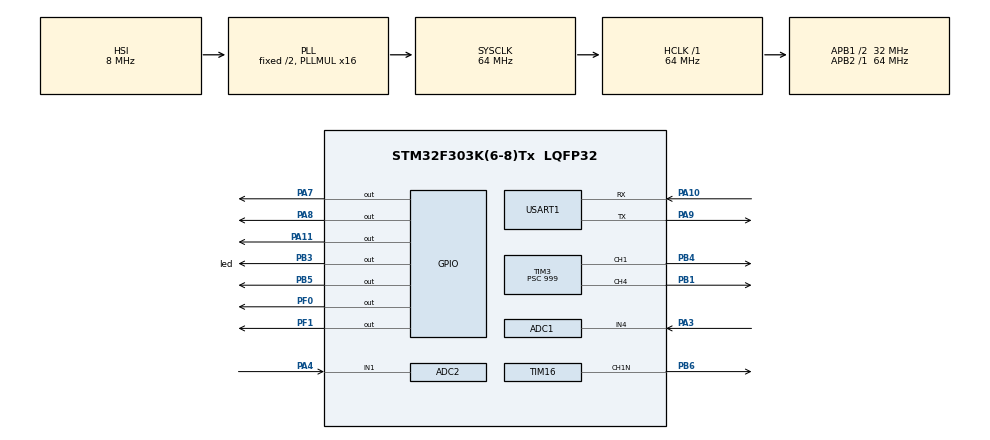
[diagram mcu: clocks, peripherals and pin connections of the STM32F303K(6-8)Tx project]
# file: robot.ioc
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ADC1.Channel-8\#ChannelRegularConversion=ADC_CHANNEL_4
ADC1.NbrOfConversionFlag=1
ADC1.SubFamily=STM32F303x8
ADC1.master=1
ADC2.Channel-0\#ChannelRegularConversion=ADC_CHANNEL_1
ADC2.NbrOfConversionFlag=1
ADC2.Offset-0\#ChannelRegularConversion=0
ADC2.OffsetNumber-0\#ChannelRegularConversion=ADC_OFFSET_NONE
ADC2.Rank-0\#ChannelRegularConversion=1
ADC2.SamplingTime-0\#ChannelRegularConversion=ADC_SAMPLETIME_1CYCLE_5
ADC2.SubFamily=STM32F303x8
FREERTOS.Tasks01=defaultTask,0,128,StartDefaultTask,Default,NULL,Dynamic,NULL,NULL;moteur,-3,128,moteurCtrl,As weak,NULL,Dynamic,NULL,NULL;pc_communicat,-3,256,pcCommunication,As weak,NULL,Dynamic,NULL,NULL
Mcu.Family=STM32F3
Mcu.Name=STM32F303K(6-8)Tx
Mcu.Package=LQFP32
NVIC.PriorityGroup=NVIC_PRIORITYGROUP_4
NVIC.TIM1_BRK_TIM15_IRQn=true\:0\:0\:false\:false\:true\:false
NVIC.TimeBase=TIM1_BRK_TIM15_IRQn
NVIC.TimeBaseIP=TIM15
PA10.Mode=Asynchronous
PA10.Signal=USART1_RX
PA11.GPIO_ModeDefaultOutputPP=GPIO_MODE_OUTPUT_PP
PA11.GPIO_PuPd=GPIO_NOPULL
PA11.GPIO_Speed=GPIO_SPEED_FREQ_LOW
PA11.PinState=GPIO_PIN_RESET
PA11.Signal=GPIO_Output
PA13.Signal=SYS_JTMS-SWDIO
PA14.Signal=SYS_JTCK-SWCLK
PA15.GPIO_FM8=__NULL
PA15.GPIO_Mode=GPIO_MODE_AF_PP
PA15.GPIO_PuPd=GPIO_NOPULL
PA15.GPIO_Speed=GPIO_SPEED_FREQ_HIGH
PA15.Signal=USART2_RX
PA2.GPIO_FM8=__NULL
PA2.GPIO_Mode=GPIO_MODE_AF_PP
PA2.GPIO_PuPd=GPIO_NOPULL
PA2.GPIO_Speed=GPIO_SPEED_FREQ_HIGH
PA2.Signal=USART2_TX
PA3.GPIO_Mode=GPIO_MODE_ANALOG
PA3.GPIO_PuPd=GPIO_NOPULL
PA3.Mode=IN4-Single-Ended
PA3.Signal=ADC1_IN4
PA4.GPIO_Mode=GPIO_MODE_ANALOG
PA4.GPIO_PuPd=GPIO_NOPULL
PA4.Mode=IN1-Single-Ended
PA4.Signal=ADC2_IN1
PA7.GPIO_ModeDefaultOutputPP=GPIO_MODE_OUTPUT_PP
PA7.GPIO_PuPd=GPIO_NOPULL
PA7.GPIO_Speed=GPIO_SPEED_FREQ_LOW
PA7.PinState=GPIO_PIN_RESET
PA7.Signal=GPIO_Output
PA8.GPIO_ModeDefaultOutputPP=GPIO_MODE_OUTPUT_PP
PA8.GPIO_PuPd=GPIO_NOPULL
PA8.GPIO_Speed=GPIO_SPEED_FREQ_LOW
PA8.PinState=GPIO_PIN_RESET
PA8.Signal=GPIO_Output
PA9.Mode=Asynchronous
PA9.Signal=USART1_TX
PB1.GPIO_ModeDefaultPP=GPIO_MODE_AF_PP
PB1.GPIO_PuPd=GPIO_NOPULL
PB1.GPIO_Speed=GPIO_SPEED_FREQ_LOW
PB1.Signal=S_TIM3_CH4
PB3.GPIO_Label=led
PB3.Signal=GPIO_Output
PB4.GPIO_ModeDefaultPP=GPIO_MODE_AF_PP
PB4.GPIO_PuPd=GPIO_NOPULL
PB4.GPIO_Speed=GPIO_SPEED_FREQ_LOW
PB4.Signal=S_TIM3_CH1
PB5.GPIO_ModeDefaultOutputPP=GPIO_MODE_OUTPUT_PP
PB5.GPIO_PuPd=GPIO_NOPULL
PB5.GPIO_Speed=GPIO_SPEED_FREQ_LOW
PB5.PinState=GPIO_PIN_RESET
PB5.Signal=GPIO_Output
PB6.GPIO_FM6=__NULL
PB6.GPIO_ModeDefaultPP=GPIO_MODE_AF_PP
PB6.GPIO_PuPd=GPIO_NOPULL
PB6.GPIO_Speed=GPIO_SPEED_FREQ_LOW
PB6.Mode=PWM Generation1 CH1N
PB6.Signal=TIM16_CH1N
PF0\ /\ OSC_IN.GPIO_ModeDefaultOutputPP=GPIO_MODE_OUTPUT_PP
PF0\ /\ OSC_IN.GPIO_PuPd=GPIO_NOPULL
PF0\ /\ OSC_IN.GPIO_Speed=GPIO_SPEED_FREQ_LOW
PF0\ /\ OSC_IN.PinState=GPIO_PIN_RESET
PF0\ /\ OSC_IN.Signal=GPIO_Output
PF1\ /\ OSC_OUT.GPIO_ModeDefaultOutputPP=GPIO_MODE_OUTPUT_PP
PF1\ /\ OSC_OUT.GPIO_PuPd=GPIO_NOPULL
PF1\ /\ OSC_OUT.GPIO_Speed=GPIO_SPEED_FREQ_LOW
PF1\ /\ OSC_OUT.PinState=GPIO_PIN_RESET
PF1\ /\ OSC_OUT.Signal=GPIO_Output
ProjectManager.HeapSize=0x200
ProjectManager.StackSize=0x400
ProjectManager.TargetToolchain=Makefile
RCC.AHBFreq_Value=64000000
RCC.APB1CLKDivider=RCC_HCLK_DIV2
RCC.APB1Freq_Value=32000000
RCC.APB1TimFreq_Value=64000000
RCC.APB2Freq_Value=64000000
RCC.APB2TimFreq_Value=64000000
RCC.CortexFreq_Value=64000000
RCC.HCLKFreq_Value=64000000
RCC.HSE_VALUE=8000000
RCC.HSI_VALUE=8000000
RCC.PLLMUL=RCC_PLL_MUL16
RCC.SYSCLKFreq_VALUE=64000000
RCC.SYSCLKSourceVirtual=RCC_SYSCLKSOURCE_PLLCLK
SH.S_TIM3_CH1.0=TIM3_CH1,PWM Generation1 CH1
SH.S_TIM3_CH4.0=TIM3_CH4,PWM Generation4 CH4
TIM16.Channel=TIM_CHANNEL_1
TIM3.Channel-PWM\ Generation1\ CH1=TIM_CHANNEL_1
TIM3.Channel-PWM\ Generation4\ CH4=TIM_CHANNEL_4
TIM3.Period=639
TIM3.Prescaler=999
TIM3.Pulse-PWM\ Generation1\ CH1=0
TIM3.Pulse-PWM\ Generation4\ CH4=0
USART1.VirtualMode-Asynchronous=VM_ASYNC
VP_FREERTOS_VS_ENABLE.Mode=Enabled
VP_SYS_VS_tim15.Mode=TIM15
VP_TIM16_VS_ClockSourceINT.Mode=Enable_Timer
board=NUCLEO-F303K8

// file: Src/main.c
/**
  ******************************************************************************
  * File Name          : main.c
  * Description        : Main program body
  ******************************************************************************
  * This notice applies to any and all portions of this file
  * that are not between comment pairs USER CODE BEGIN and
  * USER CODE END. Other portions of this file, whether
  * inserted by the user or by software development tools
  * are owned by their respective copyright owners.
  *
  * Copyright (c) 2017 STMicroelectronics International N.V.
  * All rights reserved.
  *
  * Redistribution and use in source and binary forms, with or without
  * modification, are permitted, provided that the following conditions are met:
  *
  * 1. Redistribution of source code must retain the above copyright notice,
  *    this list of conditions and the following disclaimer.
  * 2. Redistributions in binary form must reproduce the above copyright notice,
  *    this list of conditions and the following disclaimer in the documentation
  *    and/or other materials provided with the distribution.
  * 3. Neither the name of STMicroelectronics nor the names of other
  *    contributors to this software may be used to endorse or promote products
  *    derived from this software without specific written permission.
  * 4. This software, including modifications and/or derivative works of this
  *    software, must execute solely and exclusively on microcontroller or
  *    microprocessor devices manufactured by or for STMicroelectronics.
  * 5. Redistribution and use of this software other than as permitted under
  *    this license is void and will automatically terminate your rights under
  *    this license.
  *
  * THIS SOFTWARE IS PROVIDED BY STMICROELECTRONICS AND CONTRIBUTORS "AS IS"
  * AND ANY EXPRESS, IMPLIED OR STATUTORY WARRANTIES, INCLUDING, BUT NOT
  * LIMITED TO, THE IMPLIED WARRANTIES OF MERCHANTABILITY, FITNESS FOR A
  * PARTICULAR PURPOSE AND NON-INFRINGEMENT OF THIRD PARTY INTELLECTUAL PROPERTY
  * RIGHTS ARE DISCLAIMED TO THE FULLEST EXTENT PERMITTED BY LAW. IN NO EVENT
  * SHALL STMICROELECTRONICS OR CONTRIBUTORS BE LIABLE FOR ANY DIRECT, INDIRECT,
  * INCIDENTAL, SPECIAL, EXEMPLARY, OR CONSEQUENTIAL DAMAGES (INCLUDING, BUT NOT
  * LIMITED TO, PROCUREMENT OF SUBSTITUTE GOODS OR SERVICES; LOSS OF USE, DATA,
  * OR PROFITS; OR BUSINESS INTERRUPTION) HOWEVER CAUSED AND ON ANY THEORY OF
  * LIABILITY, WHETHER IN CONTRACT, STRICT LIABILITY, OR TORT (INCLUDING
  * NEGLIGENCE OR OTHERWISE) ARISING IN ANY WAY OUT OF THE USE OF THIS SOFTWARE,
  * EVEN IF ADVISED OF THE POSSIBILITY OF SUCH DAMAGE.
  *
  ******************************************************************************
  */
#include "main.h"
#include "stm32f3xx_hal.h"
#include "cmsis_os.h"

ADC_HandleTypeDef hadc1;
ADC_HandleTypeDef hadc2;

TIM_HandleTypeDef htim3;
TIM_HandleTypeDef htim16;

UART_HandleTypeDef huart1;

osThreadId defaultTaskHandle;
osThreadId moteurHandle;
osThreadId pc_communicatHandle;

/* USER CODE BEGIN PV */
/* Private variables ---------------------------------------------------------*/

/* USER CODE END PV */

void SystemClock_Config(void);
static void MX_GPIO_Init(void);
static void MX_TIM3_Init(void);
static void MX_TIM16_Init(void);
static void MX_USART1_UART_Init(void);
static void MX_ADC2_Init(void);
static void MX_ADC1_Init(void);
void StartDefaultTask(void const * argument);
void moteurCtrl(void const * argument);
void pcCommunication(void const * argument);

void HAL_TIM_MspPostInit(TIM_HandleTypeDef *htim);

/* USER CODE BEGIN PFP */
/* Private function prototypes -----------------------------------------------*/

/* USER CODE END PFP */

int main(void)
{

  /* MCU Configuration----------------------------------------------------------*/

  /* Reset of all peripherals, Initializes the Flash interface and the Systick. */
  HAL_Init();

  /* Configure the system clock */
  SystemClock_Config();

  /* Initialize all configured peripherals */
  MX_GPIO_Init();
  MX_TIM3_Init();
  MX_TIM16_Init();
  MX_USART1_UART_Init();
  MX_ADC2_Init();
  MX_ADC1_Init();

  /* Create the thread(s) */
  /* definition and creation of defaultTask */
  osThreadDef(defaultTask, StartDefaultTask, osPriorityNormal, 0, 128);
  defaultTaskHandle = osThreadCreate(osThread(defaultTask), NULL);

  /* definition and creation of moteur */
  osThreadDef(moteur, moteurCtrl, osPriorityIdle, 0, 128);
  moteurHandle = osThreadCreate(osThread(moteur), NULL);

  /* definition and creation of pc_communicat */
  osThreadDef(pc_communicat, pcCommunication, osPriorityIdle, 0, 256);
  pc_communicatHandle = osThreadCreate(osThread(pc_communicat), NULL);

  /* Start scheduler */
  osKernelStart();

  /* We should never get here as control is now taken by the scheduler */

  /* Infinite loop */
  while (1)
  {

  }

}

/** System Clock Configuration
*/
void SystemClock_Config(void)
{

  RCC_OscInitTypeDef RCC_OscInitStruct;
  RCC_ClkInitTypeDef RCC_ClkInitStruct;
  RCC_PeriphCLKInitTypeDef PeriphClkInit;

    /**Initializes the CPU, AHB and APB busses clocks
    */
  RCC_OscInitStruct.OscillatorType = RCC_OSCILLATORTYPE_HSI;
  RCC_OscInitStruct.HSIState = RCC_HSI_ON;
  RCC_OscInitStruct.HSICalibrationValue = 16;
  RCC_OscInitStruct.PLL.PLLState = RCC_PLL_ON;
  RCC_OscInitStruct.PLL.PLLSource = RCC_PLLSOURCE_HSI;
  RCC_OscInitStruct.PLL.PLLMUL = RCC_PLL_MUL16;
  if (HAL_RCC_OscConfig(&RCC_OscInitStruct) != HAL_OK)
  {
    _Error_Handler(__FILE__, __LINE__);
  }

    /**Initializes the CPU, AHB and APB busses clocks
    */
  RCC_ClkInitStruct.ClockType = RCC_CLOCKTYPE_HCLK|RCC_CLOCKTYPE_SYSCLK
                              |RCC_CLOCKTYPE_PCLK1|RCC_CLOCKTYPE_PCLK2;
  RCC_ClkInitStruct.SYSCLKSource = RCC_SYSCLKSOURCE_PLLCLK;
  RCC_ClkInitStruct.AHBCLKDivider = RCC_SYSCLK_DIV1;
  RCC_ClkInitStruct.APB1CLKDivider = RCC_HCLK_DIV2;
  RCC_ClkInitStruct.APB2CLKDivider = RCC_HCLK_DIV1;

  if (HAL_RCC_ClockConfig(&RCC_ClkInitStruct, FLASH_LATENCY_2) != HAL_OK)
  {
    _Error_Handler(__FILE__, __LINE__);
  }

  PeriphClkInit.PeriphClockSelection = RCC_PERIPHCLK_USART1|RCC_PERIPHCLK_ADC12;
  PeriphClkInit.Usart1ClockSelection = RCC_USART1CLKSOURCE_PCLK1;
  PeriphClkInit.Adc12ClockSelection = RCC_ADC12PLLCLK_DIV1;
  if (HAL_RCCEx_PeriphCLKConfig(&PeriphClkInit) != HAL_OK)
  {
    _Error_Handler(__FILE__, __LINE__);
  }

    /**Configure the Systick interrupt time
    */
  HAL_SYSTICK_Config(HAL_RCC_GetHCLKFreq()/1000);

    /**Configure the Systick
    */
  HAL_SYSTICK_CLKSourceConfig(SYSTICK_CLKSOURCE_HCLK);

  /* SysTick_IRQn interrupt configuration */
  HAL_NVIC_SetPriority(SysTick_IRQn, 15, 0);
}

/* ADC1 init function */
static void MX_ADC1_Init(void)
{

  ADC_MultiModeTypeDef multimode;
  ADC_ChannelConfTypeDef sConfig;

    /**Common config
    */
  hadc1.Instance = ADC1;
  hadc1.Init.ClockPrescaler = ADC_CLOCK_ASYNC_DIV1;
  hadc1.Init.Resolution = ADC_RESOLUTION_12B;
  hadc1.Init.ScanConvMode = ADC_SCAN_DISABLE;
  hadc1.Init.ContinuousConvMode = DISABLE;
  hadc1.Init.DiscontinuousConvMode = DISABLE;
  hadc1.Init.ExternalTrigConvEdge = ADC_EXTERNALTRIGCONVEDGE_NONE;
  hadc1.Init.ExternalTrigConv = ADC_SOFTWARE_START;
  hadc1.Init.DataAlign = ADC_DATAALIGN_RIGHT;
  hadc1.Init.NbrOfConversion = 1;
  hadc1.Init.DMAContinuousRequests = DISABLE;
  hadc1.Init.EOCSelection = ADC_EOC_SINGLE_CONV;
  hadc1.Init.LowPowerAutoWait = DISABLE;
  hadc1.Init.Overrun = ADC_OVR_DATA_OVERWRITTEN;
  if (HAL_ADC_Init(&hadc1) != HAL_OK)
  {
    _Error_Handler(__FILE__, __LINE__);
  }

    /**Configure the ADC multi-mode
    */
  multimode.Mode = ADC_MODE_INDEPENDENT;
  if (HAL_ADCEx_MultiModeConfigChannel(&hadc1, &multimode) != HAL_OK)
  {
    _Error_Handler(__FILE__, __LINE__);
  }

    /**Configure Regular Channel
    */
  sConfig.Channel = ADC_CHANNEL_4;
  sConfig.Rank = 1;
  sConfig.SingleDiff = ADC_SINGLE_ENDED;
  sConfig.SamplingTime = ADC_SAMPLETIME_1CYCLE_5;
  sConfig.OffsetNumber = ADC_OFFSET_NONE;
  sConfig.Offset = 0;
  if (HAL_ADC_ConfigChannel(&hadc1, &sConfig) != HAL_OK)
  {
    _Error_Handler(__FILE__, __LINE__);
  }

}

/* ADC2 init function */
static void MX_ADC2_Init(void)
{

  ADC_ChannelConfTypeDef sConfig;

    /**Common config
    */
  hadc2.Instance = ADC2;
  hadc2.Init.ClockPrescaler = ADC_CLOCK_ASYNC_DIV1;
  hadc2.Init.Resolution = ADC_RESOLUTION_12B;
  hadc2.Init.ScanConvMode = ADC_SCAN_DISABLE;
  hadc2.Init.ContinuousConvMode = DISABLE;
  hadc2.Init.DiscontinuousConvMode = DISABLE;
  hadc2.Init.ExternalTrigConvEdge = ADC_EXTERNALTRIGCONVEDGE_NONE;
  hadc2.Init.ExternalTrigConv = ADC_SOFTWARE_START;
  hadc2.Init.DataAlign = ADC_DATAALIGN_RIGHT;
  hadc2.Init.NbrOfConversion = 1;
  hadc2.Init.DMAContinuousRequests = DISABLE;
  hadc2.Init.EOCSelection = ADC_EOC_SINGLE_CONV;
  hadc2.Init.LowPowerAutoWait = DISABLE;
  hadc2.Init.Overrun = ADC_OVR_DATA_OVERWRITTEN;
  if (HAL_ADC_Init(&hadc2) != HAL_OK)
  {
    _Error_Handler(__FILE__, __LINE__);
  }

    /**Configure Regular Channel
    */
  sConfig.Channel = ADC_CHANNEL_1;
  sConfig.Rank = 1;
  sConfig.SingleDiff = ADC_SINGLE_ENDED;
  sConfig.SamplingTime = ADC_SAMPLETIME_1CYCLE_5;
  sConfig.OffsetNumber = ADC_OFFSET_NONE;
  sConfig.Offset = 0;
  if (HAL_ADC_ConfigChannel(&hadc2, &sConfig) != HAL_OK)
  {
    _Error_Handler(__FILE__, __LINE__);
  }

}

/* TIM3 init function */
static void MX_TIM3_Init(void)
{

  TIM_MasterConfigTypeDef sMasterConfig;
  TIM_OC_InitTypeDef sConfigOC;

  htim3.Instance = TIM3;
  htim3.Init.Prescaler = 999;
  htim3.Init.CounterMode = TIM_COUNTERMODE_UP;
  htim3.Init.Period = 639;
  htim3.Init.ClockDivision = TIM_CLOCKDIVISION_DIV1;
  htim3.Init.AutoReloadPreload = TIM_AUTORELOAD_PRELOAD_DISABLE;
  if (HAL_TIM_PWM_Init(&htim3) != HAL_OK)
  {
    _Error_Handler(__FILE__, __LINE__);
  }

  sMasterConfig.MasterOutputTrigger = TIM_TRGO_RESET;
  sMasterConfig.MasterSlaveMode = TIM_MASTERSLAVEMODE_DISABLE;
  if (HAL_TIMEx_MasterConfigSynchronization(&htim3, &sMasterConfig) != HAL_OK)
  {
    _Error_Handler(__FILE__, __LINE__);
  }

  sConfigOC.OCMode = TIM_OCMODE_PWM1;
  sConfigOC.Pulse = 0;
  sConfigOC.OCPolarity = TIM_OCPOLARITY_HIGH;
  sConfigOC.OCFastMode = TIM_OCFAST_DISABLE;
  if (HAL_TIM_PWM_ConfigChannel(&htim3, &sConfigOC, TIM_CHANNEL_1) != HAL_OK)
  {
    _Error_Handler(__FILE__, __LINE__);
  }

  if (HAL_TIM_PWM_ConfigChannel(&htim3, &sConfigOC, TIM_CHANNEL_4) != HAL_OK)
  {
    _Error_Handler(__FILE__, __LINE__);
  }

  HAL_TIM_MspPostInit(&htim3);

}

/* TIM16 init function */
static void MX_TIM16_Init(void)
{

  TIM_OC_InitTypeDef sConfigOC;
  TIM_BreakDeadTimeConfigTypeDef sBreakDeadTimeConfig;

  htim16.Instance = TIM16;
  htim16.Init.Prescaler = 0;
  htim16.Init.CounterMode = TIM_COUNTERMODE_UP;
  htim16.Init.Period = 0;
  htim16.Init.ClockDivision = TIM_CLOCKDIVISION_DIV1;
  htim16.Init.RepetitionCounter = 0;
  htim16.Init.AutoReloadPreload = TIM_AUTORELOAD_PRELOAD_DISABLE;
  if (HAL_TIM_Base_Init(&htim16) != HAL_OK)
  {
    _Error_Handler(__FILE__, __LINE__);
  }

  if (HAL_TIM_PWM_Init(&htim16) != HAL_OK)
  {
    _Error_Handler(__FILE__, __LINE__);
  }

  sConfigOC.OCMode = TIM_OCMODE_PWM1;
  sConfigOC.Pulse = 0;
  sConfigOC.OCPolarity = TIM_OCPOLARITY_HIGH;
  sConfigOC.OCNPolarity = TIM_OCNPOLARITY_HIGH;
  sConfigOC.OCFastMode = TIM_OCFAST_DISABLE;
  sConfigOC.OCIdleState = TIM_OCIDLESTATE_RESET;
  sConfigOC.OCNIdleState = TIM_OCNIDLESTATE_RESET;
  if (HAL_TIM_PWM_ConfigChannel(&htim16, &sConfigOC, TIM_CHANNEL_1) != HAL_OK)
  {
    _Error_Handler(__FILE__, __LINE__);
  }

  sBreakDeadTimeConfig.OffStateRunMode = TIM_OSSR_DISABLE;
  sBreakDeadTimeConfig.OffStateIDLEMode = TIM_OSSI_DISABLE;
  sBreakDeadTimeConfig.LockLevel = TIM_LOCKLEVEL_OFF;
  sBreakDeadTimeConfig.DeadTime = 0;
  sBreakDeadTimeConfig.BreakState = TIM_BREAK_DISABLE;
  sBreakDeadTimeConfig.BreakPolarity = TIM_BREAKPOLARITY_HIGH;
  sBreakDeadTimeConfig.BreakFilter = 0;
  sBreakDeadTimeConfig.AutomaticOutput = TIM_AUTOMATICOUTPUT_DISABLE;
  if (HAL_TIMEx_ConfigBreakDeadTime(&htim16, &sBreakDeadTimeConfig) != HAL_OK)
  {
    _Error_Handler(__FILE__, __LINE__);
  }

  HAL_TIM_MspPostInit(&htim16);

}

/* USART1 init function */
static void MX_USART1_UART_Init(void)
{

  huart1.Instance = USART1;
  huart1.Init.BaudRate = 38400;
  huart1.Init.WordLength = UART_WORDLENGTH_7B;
  huart1.Init.StopBits = UART_STOPBITS_1;
  huart1.Init.Parity = UART_PARITY_NONE;
  huart1.Init.Mode = UART_MODE_TX_RX;
  huart1.Init.HwFlowCtl = UART_HWCONTROL_NONE;
  huart1.Init.OverSampling = UART_OVERSAMPLING_16;
  huart1.Init.OneBitSampling = UART_ONE_BIT_SAMPLE_DISABLE;
  huart1.AdvancedInit.AdvFeatureInit = UART_ADVFEATURE_NO_INIT;
  if (HAL_UART_Init(&huart1) != HAL_OK)
  {
    _Error_Handler(__FILE__, __LINE__);
  }

}

/** Configure pins as
        * Analog
        * Input
        * Output
        * EVENT_OUT
        * EXTI
     PA2   ------> USART2_TX
     PA15   ------> USART2_RX
*/
static void MX_GPIO_Init(void)
{

  GPIO_InitTypeDef GPIO_InitStruct;

  /* GPIO Ports Clock Enable */
  __HAL_RCC_GPIOF_CLK_ENABLE();
  __HAL_RCC_GPIOA_CLK_ENABLE();
  __HAL_RCC_GPIOB_CLK_ENABLE();

  /*Configure GPIO pin Output Level */
  HAL_GPIO_WritePin(GPIOF, GPIO_PIN_0|GPIO_PIN_1, GPIO_PIN_RESET);

  /*Configure GPIO pin Output Level */
  HAL_GPIO_WritePin(GPIOA, GPIO_PIN_7|GPIO_PIN_8|GPIO_PIN_11, GPIO_PIN_RESET);

  /*Configure GPIO pin Output Level */
  HAL_GPIO_WritePin(GPIOB, led_Pin|GPIO_PIN_5, GPIO_PIN_RESET);

  /*Configure GPIO pins : PF0 PF1 */
  GPIO_InitStruct.Pin = GPIO_PIN_0|GPIO_PIN_1;
  GPIO_InitStruct.Mode = GPIO_MODE_OUTPUT_PP;
  GPIO_InitStruct.Pull = GPIO_NOPULL;
  GPIO_InitStruct.Speed = GPIO_SPEED_FREQ_LOW;
  HAL_GPIO_Init(GPIOF, &GPIO_InitStruct);

  /*Configure GPIO pins : PA2 PA15 */
  GPIO_InitStruct.Pin = GPIO_PIN_2|GPIO_PIN_15;
  GPIO_InitStruct.Mode = GPIO_MODE_AF_PP;
  GPIO_InitStruct.Pull = GPIO_NOPULL;
  GPIO_InitStruct.Speed = GPIO_SPEED_FREQ_HIGH;
  GPIO_InitStruct.Alternate = GPIO_AF7_USART2;
  HAL_GPIO_Init(GPIOA, &GPIO_InitStruct);

  /*Configure GPIO pins : PA7 PA8 PA11 */
  GPIO_InitStruct.Pin = GPIO_PIN_7|GPIO_PIN_8|GPIO_PIN_11;
  GPIO_InitStruct.Mode = GPIO_MODE_OUTPUT_PP;
  GPIO_InitStruct.Pull = GPIO_NOPULL;
  GPIO_InitStruct.Speed = GPIO_SPEED_FREQ_LOW;
  HAL_GPIO_Init(GPIOA, &GPIO_InitStruct);

  /*Configure GPIO pins : led_Pin PB5 */
  GPIO_InitStruct.Pin = led_Pin|GPIO_PIN_5;
  GPIO_InitStruct.Mode = GPIO_MODE_OUTPUT_PP;
  GPIO_InitStruct.Pull = GPIO_NOPULL;
  GPIO_InitStruct.Speed = GPIO_SPEED_FREQ_LOW;
  HAL_GPIO_Init(GPIOB, &GPIO_InitStruct);

}

/* StartDefaultTask function */
void StartDefaultTask(void const * argument)
{

  /* USER CODE BEGIN 5 */
  /* Infinite loop */
  for(;;)
  {
    HAL_GPIO_TogglePin(led_GPIO_Port, led_Pin);
    osDelay(1000);
  }
  /* USER CODE END 5 */
}

/* moteurCtrl function */
__weak void moteurCtrl(void const * argument)
{
  for(;;)
  {
    osDelay(1);
  }
}

/* pcCommunication function */
__weak void pcCommunication(void const * argument)
{
  for(;;)
  {
    osDelay(1);
  }
}

void HAL_TIM_PeriodElapsedCallback(TIM_HandleTypeDef *htim)
{
  if (htim->Instance == TIM15) {
    HAL_IncTick();
  }
}

void _Error_Handler(char * file, int line)
{
  while(1)
  {
  }
}

/************************ (C) COPYRIGHT STMicroelectronics *****END OF FILE****/

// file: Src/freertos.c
/**
  ******************************************************************************
  * File Name          : freertos.c
  * Description        : Code for freertos applications
  ******************************************************************************
  * This notice applies to any and all portions of this file
  * that are not between comment pairs USER CODE BEGIN and
  * USER CODE END. Other portions of this file, whether
  * inserted by the user or by software development tools
  * are owned by their respective copyright owners.
  *
  * Copyright (c) 2017 STMicroelectronics International N.V.
  * All rights reserved.
  *
  * Redistribution and use in source and binary forms, with or without
  * modification, are permitted, provided that the following conditions are met:
  *
  * 1. Redistribution of source code must retain the above copyright notice,
  *    this list of conditions and the following disclaimer.
  * 2. Redistributions in binary form must reproduce the above copyright notice,
  *    this list of conditions and the following disclaimer in the documentation
  *    and/or other materials provided with the distribution.
  * 3. Neither the name of STMicroelectronics nor the names of other
  *    contributors to this software may be used to endorse or promote products
  *    derived from this software without specific written permission.
  * 4. This software, including modifications and/or derivative works of this
  *    software, must execute solely and exclusively on microcontroller or
  *    microprocessor devices manufactured by or for STMicroelectronics.
  * 5. Redistribution and use of this software other than as permitted under
  *    this license is void and will automatically terminate your rights under
  *    this license.
  *
  * THIS SOFTWARE IS PROVIDED BY STMICROELECTRONICS AND CONTRIBUTORS "AS IS"
  * AND ANY EXPRESS, IMPLIED OR STATUTORY WARRANTIES, INCLUDING, BUT NOT
  * LIMITED TO, THE IMPLIED WARRANTIES OF MERCHANTABILITY, FITNESS FOR A
  * PARTICULAR PURPOSE AND NON-INFRINGEMENT OF THIRD PARTY INTELLECTUAL PROPERTY
  * RIGHTS ARE DISCLAIMED TO THE FULLEST EXTENT PERMITTED BY LAW. IN NO EVENT
  * SHALL STMICROELECTRONICS OR CONTRIBUTORS BE LIABLE FOR ANY DIRECT, INDIRECT,
  * INCIDENTAL, SPECIAL, EXEMPLARY, OR CONSEQUENTIAL DAMAGES (INCLUDING, BUT NOT
  * LIMITED TO, PROCUREMENT OF SUBSTITUTE GOODS OR SERVICES; LOSS OF USE, DATA,
  * OR PROFITS; OR BUSINESS INTERRUPTION) HOWEVER CAUSED AND ON ANY THEORY OF
  * LIABILITY, WHETHER IN CONTRACT, STRICT LIABILITY, OR TORT (INCLUDING
  * NEGLIGENCE OR OTHERWISE) ARISING IN ANY WAY OUT OF THE USE OF THIS SOFTWARE,
  * EVEN IF ADVISED OF THE POSSIBILITY OF SUCH DAMAGE.
  *
  ******************************************************************************
  */

#include "FreeRTOS.h"
#include "task.h"

/* USER CODE BEGIN Includes */
#include <string.h>
#include "cmsis_os.h"
#include "main.h"
#include "stm32f3xx_hal.h"
/* USER CODE END Includes */

/* USER CODE BEGIN Variables */
extern TIM_HandleTypeDef htim3;
/* USER CODE END Variables */

/* USER CODE BEGIN FunctionPrototypes */
void alumer_gauche();
void eteindre_gauche();

void alumer_droite();
void eteindre_droite();

void avancer_dix_cm();
void reculer_dix_cm();
void tourner_droite();
void tourner_gauche();

void accelerer();
void deccelerer();

void alumer_gauche(int sens) {
    HAL_GPIO_WritePin(ain1_GPIO_Port, ain1_Pin, !sens);
    HAL_GPIO_WritePin(ain2_GPIO_Port, ain2_Pin, sens);
}

void alumer_droite(int sens) {
    HAL_GPIO_WritePin(bin1_GPIO_Port, bin1_Pin, !sens);
    HAL_GPIO_WritePin(bin2_GPIO_Port, bin2_Pin, sens);
}

void eteindre_gauche() {
    HAL_GPIO_WritePin(ain1_GPIO_Port, ain1_Pin, 0);
    HAL_GPIO_WritePin(ain2_GPIO_Port, ain2_Pin, 0);
}

void eteindre_droite() {
    HAL_GPIO_WritePin(bin1_GPIO_Port, bin1_Pin, 0);
    HAL_GPIO_WritePin(bin2_GPIO_Port, bin2_Pin, 0);
}

void avancer_dix_cm() {
    alumer_droite(1);
    alumer_gauche(1);
    accelerer();
    osDelay(2000);
    deccelerer();
    eteindre_droite();
    eteindre_gauche();
}

void reculer_dix_cm() {
    alumer_droite(0);
    alumer_gauche(0);
    accelerer();
    osDelay(2000);
    deccelerer();
    eteindre_droite();
    eteindre_gauche();

}

void tourner_droite() {
    alumer_gauche(1);
    alumer_droite(0);
    accelerer();
    osDelay(1000);
    deccelerer();
    eteindre_droite();
    eteindre_gauche();
}

void tourner_gauche() {
    alumer_droite(1);
    alumer_gauche(0);
    accelerer();
    osDelay(1000);
    deccelerer();
    eteindre_droite();
    eteindre_gauche();
}

void accelerer() {
    int pwm = 0;
    while (pwm != 320) {
        __HAL_TIM_SET_COMPARE(&htim3, TIM_CHANNEL_1, pwm);
        __HAL_TIM_SET_COMPARE(&htim3, TIM_CHANNEL_4, pwm);
        pwm += 20;
        osDelay(100);
    }
}

void deccelerer() {
    int pwm = 320;
    while (pwm != 0) {
        __HAL_TIM_SET_COMPARE(&htim3, TIM_CHANNEL_1, pwm);
        __HAL_TIM_SET_COMPARE(&htim3, TIM_CHANNEL_4, pwm);
        pwm -= 20;
        osDelay(100);
    }
}

/* USER CODE END FunctionPrototypes */

/* Hook prototypes */

/* USER CODE BEGIN Application */
/* pcCommunication function */

/* USER CODE END Application */

/************************ (C) COPYRIGHT STMicroelectronics *****END OF FILE****/
